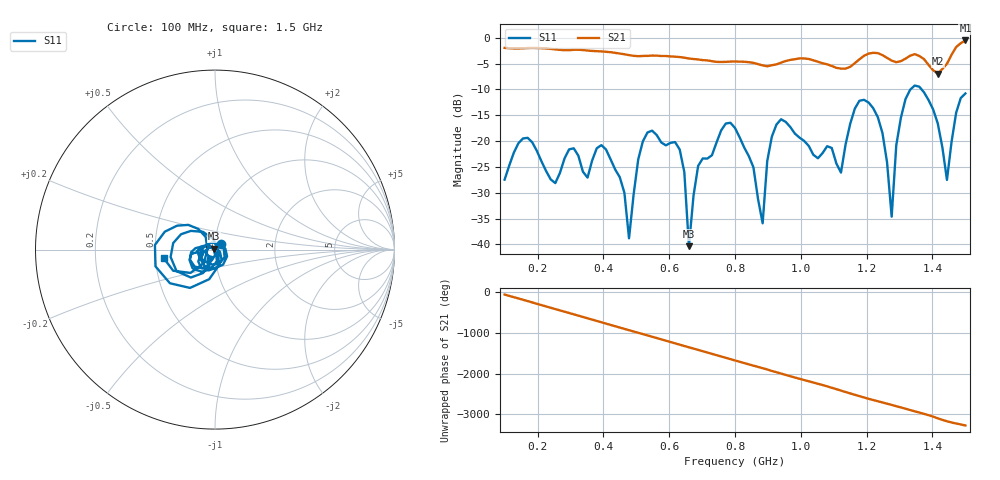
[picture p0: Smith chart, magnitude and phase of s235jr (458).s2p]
! NanoVNA-App
! Date: 2025-09-25 15:07:43
! Start: 100MHz Stop: 1,5GHz Points: 101
! S-Parameter data: F S11 S21 S12 S22
# Hz S RI R 50
!  Frequency  S11_Real  S11_Imag  S21_Real  S21_Imag  S12_Real  S12_Imag  S22_Real  S22_Imag
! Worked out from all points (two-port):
!   101 points, 100 MHz to 1.5 GHz, reference 50 ohm
!   highest |S21| = -0.53 dB at 1.5 GHz (marker M1); lowest = -6.9 dB at 1.416 GHz (marker M2)
!   |S21| within 3 dB of the highest: start of sweep to 496.5 MHz; 1.191 GHz to 1.252 GHz (60.82 MHz wide, 4.98 % of centre) (the widest 2 of 5)
!   lowest |S11| = -40.3 dB at 660 MHz (marker M3), VSWR 1.02, Z = 49.2 + j0.55 ohm
!   |S11| at or under -10 dB: start of sweep to 1.333 GHz; 1.367 GHz to end of sweep
!   S12 and S22 are empty: the file has one direction only
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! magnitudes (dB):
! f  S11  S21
! 100 MHz  -27.5  -2.0
! 170 MHz  -19.4  -2.0
! 338 MHz  -25.9  -2.4
! 408 MHz  -21.6  -2.7
! 478 MHz  -38.8  -3.4
! 520 MHz  -20.1  -3.5
! 576 MHz  -20.3  -3.5
! 632 MHz  -21.6  -3.7
! 660 MHz  -40.3  -4.0
! 688 MHz  -24.8  -4.2
! 800 MHz  -17.5  -4.6
! 884 MHz  -35.9  -5.4
! 926 MHz  -16.8  -5.2
! 1.038 GHz  -22.7  -4.4
! 1.122 GHz  -26.1  -6.0
! 1.206 GHz  -12.5  -3.1
! 1.248 GHz  -18.4  -3.4
! 1.276 GHz  -34.6  -4.4
! 1.318 GHz  -11.9  -4.1
! 1.416 GHz  -16.6  -6.9
! 1.444 GHz  -27.5  -5.0
! 1.5 GHz  -10.8  -0.5
